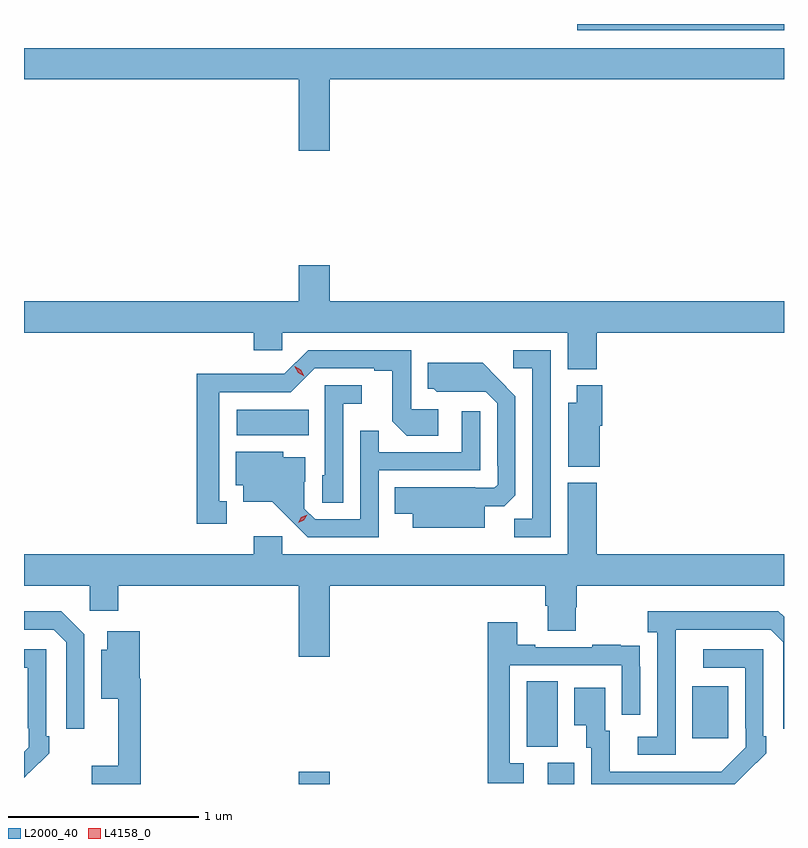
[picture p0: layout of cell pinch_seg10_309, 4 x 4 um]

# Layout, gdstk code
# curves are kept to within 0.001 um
import gdstk
lib = gdstk.Library(unit=1e-6, precision=1e-09)
def R(c, l, rs):  # rectangles x0, y0, x1, y1
    for r in rs: c.add(gdstk.rectangle(r[:2], r[2:], *l))
def P(c, l, *ps):  # polygons
    for p in ps: c.add(gdstk.Polygon(p, *l))
L2000_40 = (2000, 40)
L4158_0 = (4158, 0)

pinch_seg10_309 = lib.new_cell('pinch_seg10_309')
R(pinch_seg10_309, L2000_40, [(416.756,1272.632,416.92,1272.697), (418.067,1272.632,418.207,1272.744), (417.956,1272.829,418.12,1273.172), (418.829,1272.873,419.017,1273.147), (416.43,1274.468,416.81,1274.602), (418.223,1276.599,419.311,1276.632)])
P(pinch_seg10_309, L2000_40, [(416.92,1276.34),(419.311,1276.34),(419.311,1276.504),(415.311,1276.504),(415.311,1276.34),(416.756,1276.34),(416.756,1275.966),(416.92,1275.966)],
  [(418.325,1275.008),(419.311,1275.008),(419.311,1275.172),(416.92,1275.172),(416.92,1275.361),(416.756,1275.361),(416.756,1275.172),(415.311,1275.172),(415.311,1275.008),(416.519,1275.008),(416.519,1274.915),(416.67,1274.915),(416.67,1275.008),(418.172,1275.008),(418.172,1274.816),(418.325,1274.816)],
  [(416.377,1274.121),(416.338,1274.121),(416.338,1274.694),(416.715,1274.694),(416.841,1274.82),(417.155,1274.82),(417.155,1274.808),(417.249,1274.808),(417.249,1274.54),(417.325,1274.464),(417.49,1274.464),(417.49,1274.604),(417.348,1274.604),(417.348,1274.916),(416.808,1274.916),(416.682,1274.79),(416.46,1274.79),(416.46,1274.792),(416.22,1274.792),(416.22,1274.001),(416.377,1274.001)],
  [(418.083,1274.916),(417.885,1274.916),(417.885,1274.82),(417.987,1274.82),(417.987,1274.027),(417.892,1274.027),(417.892,1273.932),(418.083,1273.932)],
  [(417.736,1274.093),(417.838,1274.093),(417.897,1274.152),(417.897,1274.674),(417.725,1274.848),(417.437,1274.848),(417.437,1274.712),(417.468,1274.712),(417.484,1274.696),(417.741,1274.697),(417.801,1274.637),(417.801,1274.308),(417.804,1274.308),(417.804,1274.208),(417.786,1274.19),(417.686,1274.19),(417.686,1274.194),(417.262,1274.194),(417.262,1274.054),(417.356,1274.054),(417.356,1273.982),(417.736,1273.982)],
  [(418.342,1274.517),(418.355,1274.517),(418.355,1274.731),(418.22,1274.731),(418.22,1274.638),(418.175,1274.638),(418.175,1274.303),(418.342,1274.303)],
  [(416.991,1274.633),(417.088,1274.633),(417.088,1274.73),(416.895,1274.73),(416.895,1274.256),(416.88,1274.256),(416.88,1274.113),(416.991,1274.113)],
  [(417.177,1274.283),(417.711,1274.283),(417.711,1274.593),(417.615,1274.593),(417.615,1274.379),(417.179,1274.379),(417.179,1274.492),(417.081,1274.492),(417.081,1274.025),(416.844,1274.025),(416.787,1274.082),(416.787,1274.224),(416.791,1274.224),(416.791,1274.353),(416.676,1274.353),(416.676,1274.38),(416.426,1274.38),(416.426,1274.204),(416.465,1274.204),(416.465,1274.117),(416.617,1274.117),(416.804,1273.932),(417.177,1273.932)],
  [(416.92,1273.676),(418.055,1273.676),(418.055,1273.57),(418.067,1273.57),(418.067,1273.438),(418.215,1273.438),(418.215,1273.563),(418.22,1273.563),(418.22,1273.676),(419.311,1273.676),(419.311,1273.84),(418.325,1273.84),(418.325,1274.218),(418.172,1274.218),(418.172,1273.84),(416.67,1273.84),(416.67,1273.936),(416.519,1273.936),(416.519,1273.84),(415.311,1273.84),(415.311,1273.676),(415.656,1273.676),(415.656,1273.545),(415.808,1273.545),(415.808,1273.676),(416.756,1273.676),(416.756,1273.302),(416.92,1273.302)],
  [(418.74,1273.243),(418.741,1273.443),(419.241,1273.443),(419.307,1273.377),(419.307,1272.924),(419.311,1272.924),(419.311,1273.511),(419.282,1273.54),(418.593,1273.54),(418.593,1273.43),(418.644,1273.43),(418.644,1272.882),(418.542,1272.882),(418.542,1272.786),(418.74,1272.786)],
  [(415.629,1273.419),(415.508,1273.54),(415.311,1273.54),(415.311,1273.443),(415.467,1273.443),(415.533,1273.377),(415.533,1272.924),(415.629,1272.924)],
  [(417.94,1272.741),(417.867,1272.741),(417.867,1273.257),(418.458,1273.257),(418.458,1272.996),(418.554,1272.996),(418.554,1273.25),(418.553,1273.25),(418.553,1273.359),(418.451,1273.359),(418.451,1273.366),(418.303,1273.366),(418.303,1273.353),(418.003,1273.353),(418.003,1273.366),(417.907,1273.366),(417.907,1273.483),(417.751,1273.483),(417.751,1272.636),(417.94,1272.636)],
  [(415.925,1273.186),(415.919,1273.186),(415.919,1273.435),(415.748,1273.435),(415.748,1273.339),(415.718,1273.339),(415.718,1273.082),(415.808,1273.082),(415.808,1272.727),(415.668,1272.727),(415.668,1272.632),(415.925,1272.632)],
  [(415.337,1272.691),(415.338,1272.69),(415.443,1272.795),(415.443,1272.883),(415.428,1272.883),(415.428,1273.341),(415.311,1273.341),(415.311,1273.245),(415.332,1273.245),(415.332,1272.925),(415.335,1272.925),(415.335,1272.825),(415.311,1272.801),(415.311,1272.665)],
  [(419.111,1272.691),(419.112,1272.69),(419.217,1272.795),(419.217,1272.883),(419.202,1272.883),(419.202,1273.341),(418.887,1273.341),(418.887,1273.245),(419.106,1273.245),(419.106,1272.925),(419.109,1272.925),(419.109,1272.825),(418.981,1272.697),(418.393,1272.696),(418.393,1272.912),(418.369,1272.912),(418.369,1273.138),(418.208,1273.138),(418.208,1272.941),(418.271,1272.941),(418.271,1272.822),(418.296,1272.822),(418.296,1272.632),(419.052,1272.632)])
P(pinch_seg10_309, L4158_0, [(416.754,1274.006),(416.754,1274.007),(416.771,1274.036),(416.802,1274.05),(416.802,1274.05),(416.802,1274.05),(416.784,1274.021),(416.754,1274.006)],
  [(416.786,1274.778),(416.754,1274.797),(416.736,1274.829),(416.736,1274.83),(416.736,1274.83),(416.768,1274.811),(416.786,1274.779),(416.786,1274.778)])

lib.write_gds('pinch_seg10_309.gds')
